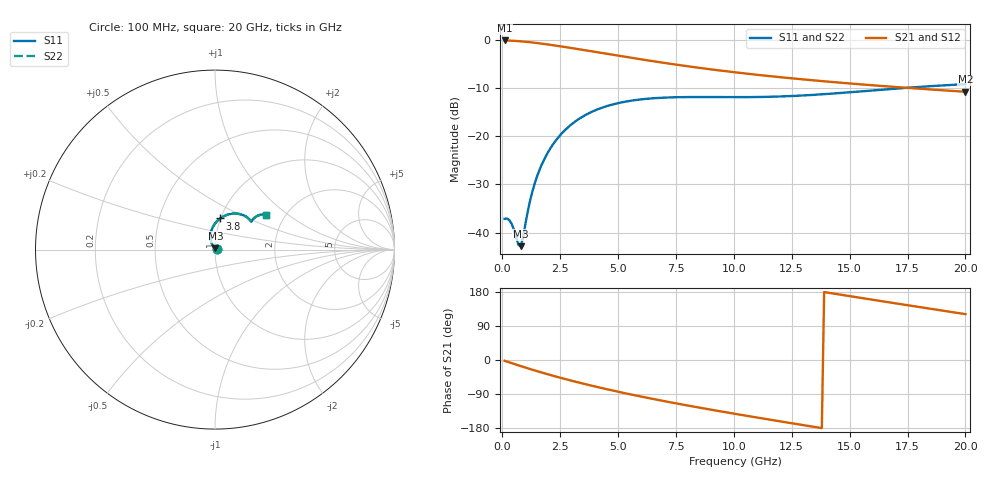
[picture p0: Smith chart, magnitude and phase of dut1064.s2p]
! Touchstone file exported from HFSS 2024.1.0
!  File:  C:/UserFiles/LocalFiles/RDL_TSV_Batchsim/temp_RDL_TSV_1064_1780091365.aedt
!  Generated:  06:08:07 AM May 30, 2026
!  Design:  RDL_TSV
!  Project:  temp_RDL_TSV_1064_1780091365
!  Setup:  Setup1
!  Solution:  Sweep
! Variables:
!  dtsv = 9.43um
!  hbump = 3um
!  htsv = 93.49um
!  ldown = 250.85um
!  lrdl = 649.66um
!  p = 40
!  p1 = 48.96um
!  rhole = 10um
!  subl = 3351.19um
!  t = 450um
!  tdown = 3.22um
!  trdl = 4.63um
!  viad = 10um
!  wdown = 23.35um
!  wrdl = 21.3um
!  xbump = 18um
# GHz S MA R 50.000000
! Terminal data exported
! Port[1] = TM1_1_T1
! Port[2] = TM1_4_T1
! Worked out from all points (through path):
!   200 points, 100 MHz to 20 GHz, reference 50 ohm
!   highest |S21| = -0.13 dB at 100 MHz (marker M1); lowest = -10.8 dB at 20 GHz (marker M2)
!   group delay of S21, straight-line fit = 31.4 ps
!   lowest |S11| = -42.8 dB at 800 MHz (marker M3), VSWR 1.01, Z = 50.3 + j0.671 ohm
!   |S11| at or under -10 dB: start of sweep to 17.34 GHz
!   |S22| runs from -42.8 to -9.2 dB; largest |S21 - S12| = 4.7e-14
!   S11 on the Smith chart (normalised r, x): 100 MHz: 1.03, +0.00; 3.8 GHz: 1.00, +0.36; 20 GHz: 1.61, +0.71
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0.1  0.01389 4.2  0.9856 -2.1  0.9856 -2.1  0.01389 4.2
! Gamma 0 0 0 0
! Port Impedance 50 0 50 0
0.3  0.01349 7.9  0.9819 -6.2  0.9819 -6.2  0.01349 7.9
0.4  0.01237 9.9  0.9794 -8.2  0.9794 -8.2  0.01237 9.9
0.7  0.007427 41.0  0.9694 -14.2  0.9694 -14.2  0.007429 41.0
0.8  0.007215 67.7  0.9653 -16.1  0.9653 -16.1  0.007219 67.7
0.9  0.008996 92.0  0.9607 -18.1  0.9607 -18.1  0.008999 92.0
1.1  0.01658 113.6  0.9506 -21.9  0.9506 -21.9  0.01657 113.6
1.3  0.02668 118.5  0.9392 -25.7  0.9392 -25.7  0.02667 118.5
1.5  0.03812 118.3  0.9269 -29.4  0.9269 -29.4  0.0381 118.2
1.8  0.05677 114.6  0.9072 -34.8  0.9072 -34.8  0.05674 114.6
2.1  0.0763 109.6  0.8863 -40.0  0.8863 -40.0  0.07627 109.6
2.5  0.1024 102.3  0.8577 -46.7  0.8577 -46.7  0.1024 102.3
3.5  0.1612 85.2  0.7858 -62.5  0.7858 -62.5  0.1612 85.1
3.8  0.176 80.6  0.7648 -66.9  0.7648 -66.9  0.1759 80.5
5.3  0.2279 61.7  0.6674 -87.7  0.6674 -87.7  0.2278 61.7
6.8  0.25 49.1  0.5857 -106.3  0.5857 -106.3  0.2499 49.1
8.4  0.255 41.3  0.5162 -124.5  0.5162 -124.5  0.2549 41.2
10.1  0.2542 37.9  0.4588 -142.6  0.4588 -142.6  0.2541 37.8
11.7  0.257 37.6  0.4165 -158.9  0.4165 -158.9  0.2568 37.5
13.4  0.2681 38.5  0.3805 -175.8  0.3805 -175.8  0.2678 38.4
16.7  0.3078 38.3  0.3277 152.2  0.3277 152.2  0.3073 38.2
20  0.3466 34.2  0.2893 121.0  0.2893 121.0  0.3458 34.1
